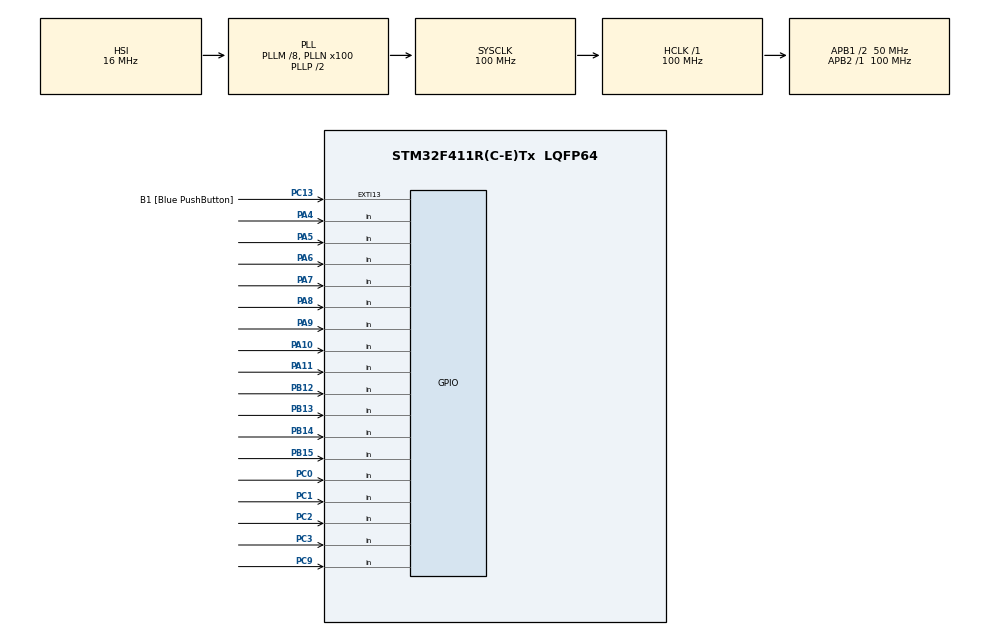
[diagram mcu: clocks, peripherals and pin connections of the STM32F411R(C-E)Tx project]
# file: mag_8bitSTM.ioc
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Mcu.Family=STM32F4
Mcu.Name=STM32F411R(C-E)Tx
Mcu.Package=LQFP64
NVIC.PriorityGroup=NVIC_PRIORITYGROUP_0
NVIC.TIM1_TRG_COM_TIM11_IRQn=true\:0\:0\:false\:false\:true\:true\:true
NVIC.TIM1_UP_TIM10_IRQn=true\:0\:0\:false\:false\:true\:true\:true
PA10.Signal=GPIO_Input
PA11.Signal=GPIO_Input
PA13.GPIO_Label=TMS
PA13.Mode=Serial_Wire
PA13.Signal=SYS_JTMS-SWDIO
PA14.GPIO_Label=TCK
PA14.Mode=Serial_Wire
PA14.Signal=SYS_JTCK-SWCLK
PA4.Signal=GPIO_Input
PA5.Signal=GPIO_Input
PA6.Signal=GPIO_Input
PA7.Signal=GPIO_Input
PA8.Signal=GPIO_Input
PA9.Signal=GPIO_Input
PB12.Signal=GPIO_Input
PB13.Signal=GPIO_Input
PB14.Signal=GPIO_Input
PB15.Signal=GPIO_Input
PB3.GPIO_Label=SWO
PB3.Signal=SYS_JTDO-SWO
PC0.Signal=GPIO_Input
PC1.Signal=GPIO_Input
PC13-ANTI_TAMP.GPIO_Label=B1 [Blue PushButton]
PC13-ANTI_TAMP.GPIO_ModeDefaultEXTI=GPIO_MODE_IT_FALLING
PC13-ANTI_TAMP.Signal=GPXTI13
PC14-OSC32_IN.Mode=LSE-External-Oscillator
PC14-OSC32_IN.Signal=RCC_OSC32_IN
PC15-OSC32_OUT.Mode=LSE-External-Oscillator
PC15-OSC32_OUT.Signal=RCC_OSC32_OUT
PC2.Signal=GPIO_Input
PC3.Signal=GPIO_Input
PC9.Signal=GPIO_Input
PH0\ -\ OSC_IN.Mode=HSE-External-Clock-Source
PH0\ -\ OSC_IN.Signal=RCC_OSC_IN
PH1\ -\ OSC_OUT.Mode=HSE-External-Clock-Source
PH1\ -\ OSC_OUT.Signal=RCC_OSC_OUT
ProjectManager.HeapSize=0x200
ProjectManager.StackSize=0x400
ProjectManager.TargetToolchain=SW4STM32
RCC.48MHZClocksFreq_Value=50000000
RCC.AHBFreq_Value=100000000
RCC.APB1CLKDivider=RCC_HCLK_DIV2
RCC.APB1Freq_Value=50000000
RCC.APB1TimFreq_Value=100000000
RCC.APB2Freq_Value=100000000
RCC.APB2TimFreq_Value=100000000
RCC.CortexFreq_Value=100000000
RCC.FLatency-AdvancedSettings=FLASH_LATENCY_3
RCC.HCLKFreq_Value=100000000
RCC.HSE_VALUE=8000000
RCC.HSI_VALUE=16000000
RCC.PLLM=8
RCC.PLLN=100
RCC.SYSCLKFreq_VALUE=100000000
RCC.SYSCLKSource=RCC_SYSCLKSOURCE_PLLCLK
RCC.VCOOutputFreq_Value=200000000
TIM10.AutoReloadPreload=TIM_AUTORELOAD_PRELOAD_ENABLE
TIM10.Period=2000
TIM10.Prescaler=20
TIM11.AutoReloadPreload=TIM_AUTORELOAD_PRELOAD_ENABLE
TIM11.Period=4000
TIM11.Prescaler=20
VP_TIM10_VS_ClockSourceINT.Mode=Enable_Timer
VP_TIM11_VS_ClockSourceINT.Mode=Enable_Timer
board=NUCLEO-F411RE

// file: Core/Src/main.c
/* USER CODE BEGIN Header */
/**
  ******************************************************************************
  * @file           : main.c
  * @brief          : Main program body
  ******************************************************************************
  * @attention
  *
  * <h2><center>&copy; Copyright (c) 2023 STMicroelectronics.
  * All rights reserved.</center></h2>
  *
  * This software component is licensed by ST under BSD 3-Clause license,
  * the "License"; You may not use this file except in compliance with the
  * License. You may obtain a copy of the License at:
  *                        opensource.org/licenses/BSD-3-Clause
  *
  ******************************************************************************
  */
/* USER CODE END Header */
#include "main.h"
#include "tim.h"
#include "gpio.h"

/* USER CODE BEGIN Includes */
#include "BUS_8bit.h"

uint8 MEMORY_IN[256];
uint8 MEMORY_FROM[256];
uint8 MOMORY_IN_ADDRESS_ITERATION;
/* USER CODE END Includes */

void SystemClock_Config(void);

int main(void)
{
  /* USER CODE BEGIN 1 */
	//DATABYTES_TO_SEND = 200;
  /* USER CODE END 1 */

  /* MCU Configuration--------------------------------------------------------*/

  /* Reset of all peripherals, Initializes the Flash interface and the Systick. */
  HAL_Init();

  /* Configure the system clock */
  SystemClock_Config();

  /* Initialize all configured peripherals */
  MX_GPIO_Init();
  MX_TIM10_Init();
  MX_TIM11_Init();
  /* USER CODE BEGIN 2 */
  HAL_TIM_Base_Start_IT(&htim10);
  HAL_TIM_Base_Start_IT(&htim11);

#ifndef BUS_RECEIVE
  DATA_TO_MEM_8bit(3,0x0F, &MEMORY_IN[0]);
  DATA_TO_MEM_16bit(17,0x0AAA, &MEMORY_IN[0]);
  DATA_TO_MEM_32bit(189,0xC33C0FFA, &MEMORY_IN[0]);
#endif
  /* USER CODE END 2 */

  /* Infinite loop */
  /* USER CODE BEGIN WHILE */
  while (1)
  {

	#ifndef BUS_RECEIVE
	  DATA_SEND_TO_FPGA(MOMORY_IN_ADDRESS_ITERATION, MEMORY_IN[MOMORY_IN_ADDRESS_ITERATION]);

	  HAL_GPIO_WritePin(GPIOC, (Data_to_Bus.Bit_field.hex1) , GPIO_PIN_SET);
	  HAL_GPIO_WritePin(GPIOA, (Data_to_Bus.Bit_field.byte2<<4), GPIO_PIN_SET);
	  HAL_GPIO_WritePin(GPIOB, (Data_to_Bus.Bit_field.hex3<<12), GPIO_PIN_SET);
	  HAL_GPIO_WritePin(GPIOC, GPIO_PIN_9,GPIO_PIN_SET);
	#endif

	#ifdef BUS_RECEIVE
		Bus_to_Data.Bit_field.hex1 = (GPIOC->IDR & 0x000F);
		Bus_to_Data.Bit_field.byte2 = ((GPIOA->IDR & 0x0FF0)>>4);
		Bus_to_Data.Bit_field.hex3 = ((GPIOB->IDR & 0xF000)>>12);
		//Bus_to_Data.DataAdd;
	#endif
    /* USER CODE END WHILE */

  }
}

void SystemClock_Config(void)
{
  RCC_OscInitTypeDef RCC_OscInitStruct = {0};
  RCC_ClkInitTypeDef RCC_ClkInitStruct = {0};

  /** Configure the main internal regulator output voltage
  */
  __HAL_RCC_PWR_CLK_ENABLE();
  __HAL_PWR_VOLTAGESCALING_CONFIG(PWR_REGULATOR_VOLTAGE_SCALE1);
  /** Initializes the RCC Oscillators according to the specified parameters
  * in the RCC_OscInitTypeDef structure.
  */
  RCC_OscInitStruct.OscillatorType = RCC_OSCILLATORTYPE_HSI;
  RCC_OscInitStruct.HSIState = RCC_HSI_ON;
  RCC_OscInitStruct.HSICalibrationValue = RCC_HSICALIBRATION_DEFAULT;
  RCC_OscInitStruct.PLL.PLLState = RCC_PLL_ON;
  RCC_OscInitStruct.PLL.PLLSource = RCC_PLLSOURCE_HSI;
  RCC_OscInitStruct.PLL.PLLM = 8;
  RCC_OscInitStruct.PLL.PLLN = 100;
  RCC_OscInitStruct.PLL.PLLP = RCC_PLLP_DIV2;
  RCC_OscInitStruct.PLL.PLLQ = 4;
  if (HAL_RCC_OscConfig(&RCC_OscInitStruct) != HAL_OK)
  {
    Error_Handler();
  }
  /** Initializes the CPU, AHB and APB buses clocks
  */
  RCC_ClkInitStruct.ClockType = RCC_CLOCKTYPE_HCLK|RCC_CLOCKTYPE_SYSCLK
                              |RCC_CLOCKTYPE_PCLK1|RCC_CLOCKTYPE_PCLK2;
  RCC_ClkInitStruct.SYSCLKSource = RCC_SYSCLKSOURCE_PLLCLK;
  RCC_ClkInitStruct.AHBCLKDivider = RCC_SYSCLK_DIV1;
  RCC_ClkInitStruct.APB1CLKDivider = RCC_HCLK_DIV2;
  RCC_ClkInitStruct.APB2CLKDivider = RCC_HCLK_DIV1;

  if (HAL_RCC_ClockConfig(&RCC_ClkInitStruct, FLASH_LATENCY_3) != HAL_OK)
  {
    Error_Handler();
  }
}

/* USER CODE BEGIN 4 */
void HAL_TIM_PeriodElapsedCallback(TIM_HandleTypeDef *htim)
{
	/*testowanie lacznosci - miganie diody z roznymi czestotliwosciami */

	if(htim->Instance == TIM10)
	{
		#ifndef BUS_RECEIVE
		MOMORY_IN_ADDRESS_ITERATION = MOMORY_IN_ADDRESS_ITERATION+1;
		if (MOMORY_IN_ADDRESS_ITERATION>DATABYTES_TO_SEND) MOMORY_IN_ADDRESS_ITERATION=0;

		HAL_GPIO_WritePin(GPIOC, (0xFFFF) , GPIO_PIN_RESET);
		HAL_GPIO_WritePin(GPIOA, (0xFFFF), GPIO_PIN_RESET);
		HAL_GPIO_WritePin(GPIOB, (0xFFFF), GPIO_PIN_RESET);

		//DATA_SEND_TO_FPGA();
		#endif

	}
	if(htim->Instance == TIM11)
	{
		#ifdef BUS_RECEIVE
		MEMORY_FROM[Bus_to_Data.DataAdd.address] = Bus_to_Data.DataAdd.data;
		#endif
	}

}

/* USER CODE END 4 */

void Error_Handler(void)
{
  __disable_irq();
  while (1)
  {
  }
}

/************************ (C) COPYRIGHT STMicroelectronics *****END OF FILE****/
